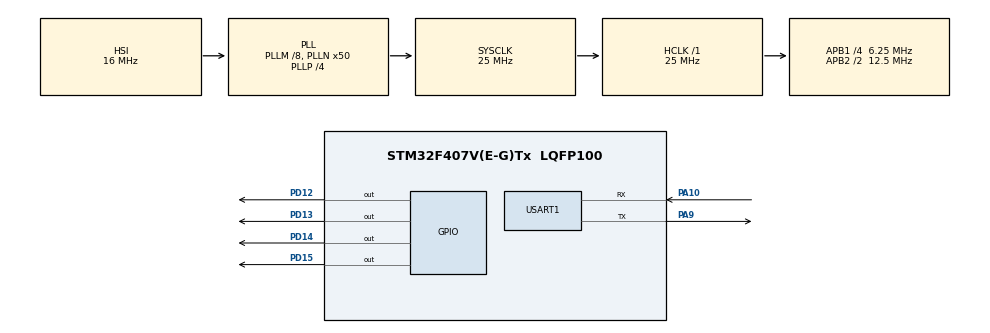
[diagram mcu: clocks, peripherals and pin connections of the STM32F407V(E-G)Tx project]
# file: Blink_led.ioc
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Mcu.Family=STM32F4
Mcu.Name=STM32F407V(E-G)Tx
Mcu.Package=LQFP100
NVIC.PriorityGroup=NVIC_PRIORITYGROUP_0
PA10.Mode=Asynchronous
PA10.Signal=USART1_RX
PA9.Mode=Asynchronous
PA9.Signal=USART1_TX
PD12.Signal=GPIO_Output
PD13.Signal=GPIO_Output
PD14.Signal=GPIO_Output
PD15.Signal=GPIO_Output
PH0-OSC_IN.Mode=HSE-External-Oscillator
PH0-OSC_IN.Signal=RCC_OSC_IN
PH1-OSC_OUT.Mode=HSE-External-Oscillator
PH1-OSC_OUT.Signal=RCC_OSC_OUT
ProjectManager.HeapSize=0x200
ProjectManager.StackSize=0x400
ProjectManager.TargetToolchain=STM32CubeIDE
RCC.48MHZClocksFreq_Value=14285714.285714285
RCC.AHBFreq_Value=25000000
RCC.APB1CLKDivider=RCC_HCLK_DIV4
RCC.APB1Freq_Value=6250000
RCC.APB1TimFreq_Value=12500000
RCC.APB2CLKDivider=RCC_HCLK_DIV2
RCC.APB2Freq_Value=12500000
RCC.APB2TimFreq_Value=25000000
RCC.CortexFreq_Value=25000000
RCC.HCLKFreq_Value=25000000
RCC.HSE_VALUE=8000000
RCC.HSI_VALUE=16000000
RCC.LSE_VALUE=32768
RCC.PLLM=8
RCC.PLLN=50
RCC.PLLP=RCC_PLLP_DIV4
RCC.PLLQ=7
RCC.SYSCLKFreq_VALUE=25000000
RCC.SYSCLKSource=RCC_SYSCLKSOURCE_PLLCLK
RCC.VCOOutputFreq_Value=100000000
USART1.VirtualMode=VM_ASYNC
VP_CRC_VS_CRC.Mode=CRC_Activate
board=STM32F407G-DISC1

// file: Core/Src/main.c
/* USER CODE BEGIN Header */
/* USER CODE END Header */
#include "main.h"
#include "stm32f4xx_hal_crc.h"

/* USER CODE BEGIN PD */
#define MAX_BUFFER_SIZE 1024 // Taille maximale du segment de réception
/* USER CODE END PD */

CRC_HandleTypeDef hcrc;

UART_HandleTypeDef huart1;

/* USER CODE BEGIN PV */
uint8_t fileData[MAX_BUFFER_SIZE]; // Buffer pour les données binaires du fichier
uint32_t receivedFileSize; // Taille du fichier reçue
uint32_t receivedCRC; // CRC reçu
uint32_t calculatedCRC; // CRC calculé
/* USER CODE END PV */

void SystemClock_Config(void);
static void MX_GPIO_Init(void);
static void MX_USART1_UART_Init(void);
static void MX_CRC_Init(void);

/* USER CODE BEGIN 0 */
void processReceivedDataSegment(uint8_t *data, uint32_t length) {
    // Calculer le CRC sur les données reçues
    calculatedCRC = HAL_CRC_Accumulate(&hcrc, (uint32_t*)data, length / 4);
    // Si la taille des données n'est pas un multiple de 4, traiter les octets restants
    uint32_t remainingBytes = length % 4;
    if (remainingBytes > 0) {
        uint32_t remainingData = 0;
        memcpy(&remainingData, data + length - remainingBytes, remainingBytes);
        calculatedCRC = HAL_CRC_Accumulate(&hcrc, &remainingData, 1);
    }
}

void processReceivedData(void) {
    uint32_t bytesRemaining = receivedFileSize;
    uint32_t bytesToReceive;

    // Réinitialiser le CRC avant de commencer
    __HAL_CRC_DR_RESET(&hcrc);

    while (bytesRemaining > 0) {
        bytesToReceive = (bytesRemaining > sizeof(fileData)) ? sizeof(fileData) : bytesRemaining;

        // Recevoir un segment du fichier
        if (HAL_UART_Receive(&huart1, fileData, bytesToReceive, HAL_MAX_DELAY) != HAL_OK) {
            // Gestion des erreurs de réception
            HAL_GPIO_WritePin(GPIOD, GPIO_PIN_12, GPIO_PIN_SET); // LED12 allumée en cas d'erreur
            return;
        }

        // Traiter le segment reçu
        processReceivedDataSegment(fileData, bytesToReceive);

        bytesRemaining -= bytesToReceive;
    }

    // Comparer le CRC calculé avec le CRC reçu
    if (calculatedCRC == receivedCRC) {
        HAL_GPIO_WritePin(GPIOD, GPIO_PIN_13, GPIO_PIN_SET); // LED13 allumée
        HAL_GPIO_WritePin(GPIOD, GPIO_PIN_14, GPIO_PIN_RESET); // LED12 éteinte
    } else {
        HAL_GPIO_WritePin(GPIOD, GPIO_PIN_13, GPIO_PIN_RESET); // LED13 éteinte
        HAL_GPIO_WritePin(GPIOD, GPIO_PIN_14, GPIO_PIN_SET); // LED12 allumée
    }
}
/* USER CODE END 0 */

int main(void)
{

  /* MCU Configuration--------------------------------------------------------*/

  /* Reset of all peripherals, Initializes the Flash interface and the Systick. */
  HAL_Init();

  /* Configure the system clock */
  SystemClock_Config();

  /* Initialize all configured peripherals */
  MX_GPIO_Init();
  MX_USART1_UART_Init();
  MX_CRC_Init();

  /* Infinite loop */
  while(1){

    /* USER CODE BEGIN 3 */
	  // Recevoir la taille du fichier (4 octets)
	          HAL_UART_Receive(&huart1, (uint8_t*)&receivedFileSize, sizeof(receivedFileSize), HAL_MAX_DELAY);

	          // Recevoir le CRC (4 octets pour CRC-32)
	          HAL_UART_Receive(&huart1, (uint8_t*)&receivedCRC, sizeof(receivedCRC), HAL_MAX_DELAY);

	          // Traiter les données reçues en segments
	          processReceivedData();
  /* USER CODE END 3 */
}
}
void SystemClock_Config(void)
{
  RCC_OscInitTypeDef RCC_OscInitStruct = {0};
  RCC_ClkInitTypeDef RCC_ClkInitStruct = {0};

  /** Configure the main internal regulator output voltage
  */
  __HAL_RCC_PWR_CLK_ENABLE();
  __HAL_PWR_VOLTAGESCALING_CONFIG(PWR_REGULATOR_VOLTAGE_SCALE1);

  /** Initializes the RCC Oscillators according to the specified parameters
  * in the RCC_OscInitTypeDef structure.
  */
  RCC_OscInitStruct.OscillatorType = RCC_OSCILLATORTYPE_HSI;
  RCC_OscInitStruct.HSIState = RCC_HSI_ON;
  RCC_OscInitStruct.HSICalibrationValue = RCC_HSICALIBRATION_DEFAULT;
  RCC_OscInitStruct.PLL.PLLState = RCC_PLL_ON;
  RCC_OscInitStruct.PLL.PLLSource = RCC_PLLSOURCE_HSI;
  RCC_OscInitStruct.PLL.PLLM = 8;
  RCC_OscInitStruct.PLL.PLLN = 50;
  RCC_OscInitStruct.PLL.PLLP = RCC_PLLP_DIV4;
  RCC_OscInitStruct.PLL.PLLQ = 7;
  if (HAL_RCC_OscConfig(&RCC_OscInitStruct) != HAL_OK)
  {
    Error_Handler();
  }

  /** Initializes the CPU, AHB and APB buses clocks
  */
  RCC_ClkInitStruct.ClockType = RCC_CLOCKTYPE_HCLK|RCC_CLOCKTYPE_SYSCLK
                              |RCC_CLOCKTYPE_PCLK1|RCC_CLOCKTYPE_PCLK2;
  RCC_ClkInitStruct.SYSCLKSource = RCC_SYSCLKSOURCE_PLLCLK;
  RCC_ClkInitStruct.AHBCLKDivider = RCC_SYSCLK_DIV1;
  RCC_ClkInitStruct.APB1CLKDivider = RCC_HCLK_DIV4;
  RCC_ClkInitStruct.APB2CLKDivider = RCC_HCLK_DIV2;

  if (HAL_RCC_ClockConfig(&RCC_ClkInitStruct, FLASH_LATENCY_0) != HAL_OK)
  {
    Error_Handler();
  }
}

static void MX_CRC_Init(void)
{

  hcrc.Instance = CRC;
  if (HAL_CRC_Init(&hcrc) != HAL_OK)
  {
    Error_Handler();
  }

}

static void MX_USART1_UART_Init(void)
{

  huart1.Instance = USART1;
  huart1.Init.BaudRate = 115200;
  huart1.Init.WordLength = UART_WORDLENGTH_8B;
  huart1.Init.StopBits = UART_STOPBITS_1;
  huart1.Init.Parity = UART_PARITY_NONE;
  huart1.Init.Mode = UART_MODE_TX_RX;
  huart1.Init.HwFlowCtl = UART_HWCONTROL_NONE;
  huart1.Init.OverSampling = UART_OVERSAMPLING_16;
  if (HAL_UART_Init(&huart1) != HAL_OK)
  {
    Error_Handler();
  }

}

static void MX_GPIO_Init(void)
{
  GPIO_InitTypeDef GPIO_InitStruct = {0};

  /* GPIO Ports Clock Enable */
  __HAL_RCC_GPIOH_CLK_ENABLE();
  __HAL_RCC_GPIOD_CLK_ENABLE();
  __HAL_RCC_GPIOA_CLK_ENABLE();

  /*Configure GPIO pin Output Level */
  HAL_GPIO_WritePin(GPIOD, GPIO_PIN_12|GPIO_PIN_13|GPIO_PIN_14|GPIO_PIN_15, GPIO_PIN_RESET);

  /*Configure GPIO pins : PD12 PD13 PD14 PD15 */
  GPIO_InitStruct.Pin = GPIO_PIN_12|GPIO_PIN_13|GPIO_PIN_14|GPIO_PIN_15;
  GPIO_InitStruct.Mode = GPIO_MODE_OUTPUT_PP;
  GPIO_InitStruct.Pull = GPIO_NOPULL;
  GPIO_InitStruct.Speed = GPIO_SPEED_FREQ_LOW;
  HAL_GPIO_Init(GPIOD, &GPIO_InitStruct);

}

void Error_Handler(void)
{
}
